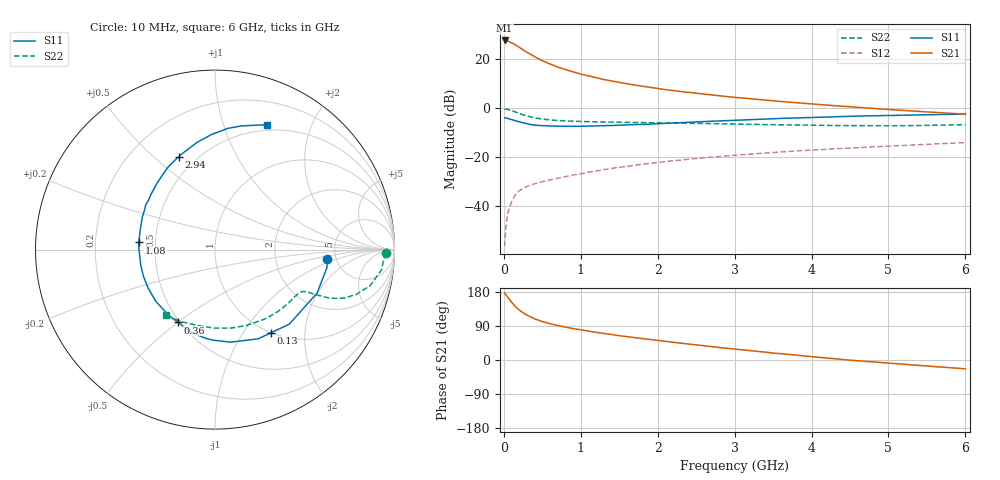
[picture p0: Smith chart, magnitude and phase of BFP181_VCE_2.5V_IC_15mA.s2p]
! Infineon Technologies  Discrete & RF Semiconductors
! BFP181
! VCE = 2.5 V,  IC =  15 mA
! Common Emitter S-Parameters:  Jan 2016
# GHz  S  MA  R  50
!  f  S11  S21  S12  S22
! GHz  MAG  ANG  MAG  ANG  MAG  ANG  MAG  ANG
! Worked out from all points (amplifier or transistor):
!   210 points, 10 MHz to 6 GHz, reference 50 ohm
!   highest |S21| = 27.6 dB at 10 MHz (marker M1)
!   |S21| within 3 dB of that: start of sweep to 211 MHz
!   unconditionally stable (mu >= 1): 642.9 MHz to end of sweep
!   at 185 MHz: K = 0.43, MSG = 29.7 dB, |S12| = -34.3 dB
!   at 1.52 GHz: K = 1.33, MAG = 13.8 dB, |S12| = -24.2 dB
!   at 6 GHz: K = 1.07, MAG = 4.2 dB, |S12| = -14.2 dB
!   S11 on the Smith chart (normalised r, x): 10 MHz: 4.22, -0.73; 130 MHz: 0.99, -1.34; 360 MHz: 0.49, -0.50; 1.08 GHz: 0.40, +0.04; 2.94 GHz: 0.40, +0.60; 6 GHz: 0.44, +1.40
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0.01  0.6267 -4.8  24 177.0  0.0015 86.0  0.9506 -1.1
0.05  0.6182 -23.0  23.52 165.5  0.0069 84.2  0.934 -7.0
0.1  0.5865 -45.1  21.64 152.5  0.012 69.4  0.8882 -13.0
0.13  0.5583 -56.3  20.29 145.9  0.0149 65.2  0.8512 -15.6
0.15  0.5522 -64.2  19.56 141.0  0.0169 63.2  0.8276 -17.5
0.2  0.523 -80.5  17.46 131.9  0.0203 58.6  0.7723 -20.4
0.24  0.5044 -91.3  15.8 126.0  0.0222 56.1  0.7332 -21.7
0.3  0.4793 -105.8  13.77 118.4  0.025 53.0  0.6845 -23.1
0.36  0.4549 -116.8  12.17 113.0  0.027 51.7  0.651 -23.6
0.4  0.4486 -124.6  11.18 108.5  0.0283 50.9  0.6287 -23.9
0.5  0.4381 -139.0  9.271 101.4  0.0313 49.9  0.5932 -24.3
0.6  0.4294 -150.8  7.942 95.7  0.034 50.3  0.5702 -24.6
0.8  0.4226 -167.7  6.095 86.6  0.0396 52.3  0.5441 -25.4
1.02  0.4248 177.8  4.852 78.7  0.0459 53.3  0.5281 -27.2
1.08  0.426 174.6  4.604 76.7  0.0481 53.5  0.525 -27.7
1.5  0.4446 155.2  3.329 64.3  0.0612 53.7  0.5114 -32.5
2.02  0.4766 136.6  2.472 51.2  0.0777 52.0  0.4984 -40.2
2.94  0.556 111.3  1.688 30.0  0.1064 46.6  0.4718 -56.2
3.1  0.5689 107.7  1.598 26.9  0.1112 45.5  0.4662 -59.3
4.1  0.6491 89.9  1.178 7.0  0.1409 38.0  0.4427 -81.1
5.1  0.7083 76.9  0.911 -9.7  0.1692 30.5  0.434 -105.3
6  0.7522 67.5  0.747 -23.3  0.196 22.8  0.4571 -127.0
